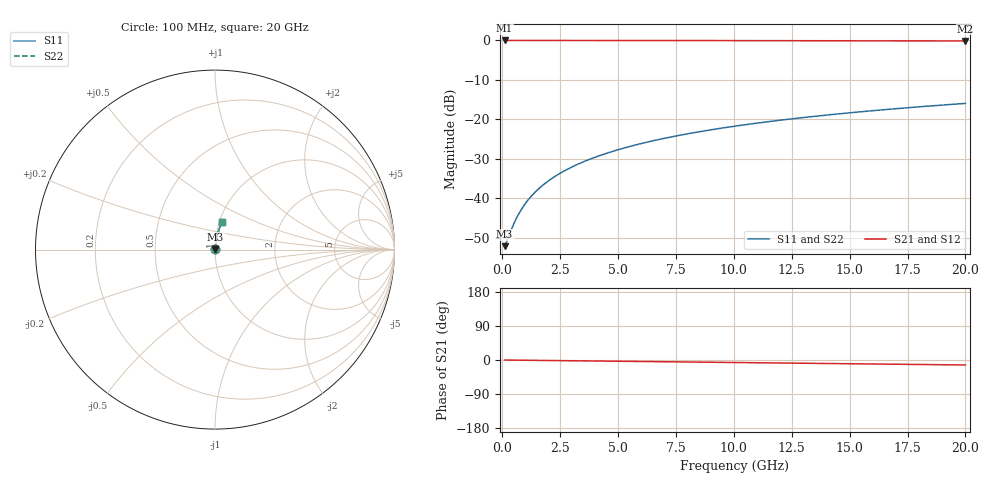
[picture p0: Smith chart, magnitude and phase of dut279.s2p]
! Touchstone file exported from HFSS 2026.1.0
!  File:  C:/ffzhzh/LocalFiles/Ansys_Project_Files/temp_train_TSV_279_1782993508_45328.aedt
!  Generated:  08:01:27 PM Jul  2, 2026
!  Design:  TSV
!  Project:  temp_train_TSV_279_1782993508_45328
! Variables:
!  h_bsmrdl = 2um
!  h_ox = 20um
!  h_rdl = 5um
!  h_sub = 92.82um
!  h_tmrdl = 5um
!  h_tsv = 92.82um
!  h_via = 3um
!  l_bsmrdl = 300um
!  l_sub = 404.26um
!  l_tmrdl = 200um
!  m_sub = 200um
!  pitch = 43.97um
!  r_tsv = 2.13um
!  s_tmrdl = 10um
!  w_bsmrdl = 18um
!  w_sub = 500um
!  w_tmrdl = 12um
!  x_tsv_center1 = 206um
!  x_tsv_center2 = 524um
!  x_tsv_center3 = 736um
!  x_tsv_center4 = 1054um
!  x_tsv_center5 = 1266um
!  x_tsv_center6 = 1584um
# GHz S MA R 50.000000
! Terminal data exported
! Port[1] = TSV1_1_T1
! Port[2] = TSV1_1_T2
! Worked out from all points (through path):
!   200 points, 100 MHz to 20 GHz, reference 50 ohm
!   highest |S21| = -0.02 dB at 100 MHz (marker M1); lowest = -0.2 dB at 20 GHz (marker M2)
!   group delay of S21, straight-line fit = 1.82 ps
!   lowest |S11| = -52.1 dB at 100 MHz (marker M3), VSWR 1.00, Z = 50.2 + j0.0834 ohm
!   |S11| at or under -10 dB: start of sweep to end of sweep
!   |S22| runs from -52.1 to -16.0 dB; largest |S21 - S12| = 4.4e-15
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0.1  0.002477 19.6  0.9977 -0.1  0.9977 -0.1  0.002477 19.6
! Gamma 0 0 0 0
! Port Impedance 50 0 50 0
0.2  0.002869 35.3  0.9977 -0.1  0.9977 -0.1  0.002869 35.3
0.4  0.00407 54.5  0.9976 -0.3  0.9976 -0.3  0.00407 54.5
0.5  0.004774 60.2  0.9976 -0.3  0.9976 -0.3  0.004774 60.2
0.7  0.006272 67.4  0.9976 -0.5  0.9976 -0.5  0.006272 67.4
0.8  0.007045 69.8  0.9976 -0.5  0.9976 -0.5  0.007045 69.8
1  0.00862 73.3  0.9976 -0.7  0.9976 -0.7  0.00862 73.3
1.3  0.01102 76.6  0.9975 -0.9  0.9975 -0.9  0.01102 76.6
1.7  0.01426 79.1  0.9975 -1.1  0.9975 -1.1  0.01426 79.1
2.2  0.01833 80.8  0.9974 -1.5  0.9974 -1.5  0.01833 80.8
2.8  0.02324 82.0  0.9972 -1.9  0.9972 -1.9  0.02324 82.0
3.5  0.02897 82.6  0.997 -2.3  0.997 -2.3  0.02897 82.6
4.2  0.0347 82.9  0.9968 -2.8  0.9968 -2.8  0.0347 82.9
5  0.04124 82.9  0.9965 -3.3  0.9965 -3.3  0.04124 82.9
5.9  0.04857 82.7  0.996 -3.9  0.996 -3.9  0.04857 82.7
6.8  0.05589 82.4  0.9955 -4.5  0.9955 -4.5  0.05589 82.4
8.3  0.06801 81.8  0.9945 -5.5  0.9945 -5.5  0.06801 81.8
10.1  0.08245 80.9  0.9931 -6.7  0.9931 -6.7  0.08245 80.9
11.7  0.09516 80.0  0.9917 -7.8  0.9917 -7.8  0.09516 80.0
13.4  0.1085 79.0  0.9901 -8.9  0.9901 -8.9  0.1085 79.0
16.7  0.1341 77.0  0.9864 -11.0  0.9864 -11.0  0.1341 77.0
20  0.1592 75.1  0.9822 -13.1  0.9822 -13.1  0.1592 75.1
